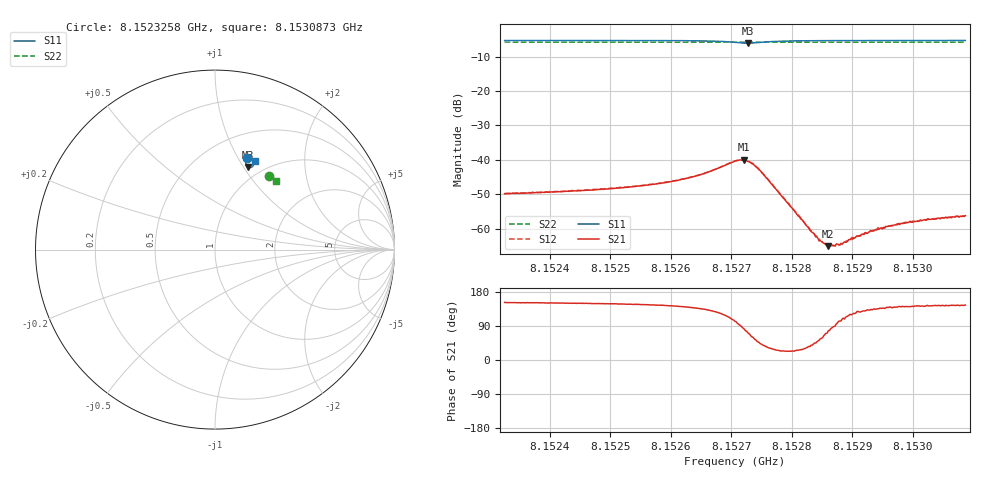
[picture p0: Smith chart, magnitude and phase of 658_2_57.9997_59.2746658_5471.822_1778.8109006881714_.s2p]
#  HZ  S  RI  R  50.00
! Rohde & Schwarz Vector Network Analyzer
! Rohde-Schwarz,ZNB20-2Port,1311601062101988,3.16
! Created: UTC 3/21/2024, 1:19:50 AM
! freq[Hz]  re:S11  im:S11  re:S21  im:S21  re:S12  im:S12  re:S22  im:S22
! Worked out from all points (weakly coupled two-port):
!   401 points, 8.1523258 GHz to 8.1530873 GHz, reference 50 ohm
!   highest |S21| = -39.98 dB at 8.1527218 GHz (marker M1); lowest = -65.1 dB at 8.1528607 GHz (marker M2)
!   lowest |S11| = -6.1 dB at 8.1527275 GHz (marker M3), VSWR 2.95, Z = 43.2 + j52.4 ohm
!   |S11| at or under -10 dB: nowhere
!   |S22| runs from -5.9 to -5.8 dB; largest |S21 - S12| = 0.00029
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8.15232579e9  0.1793 0.51  -0.00284 0.00152  -0.00286 0.00158  0.3031 0.4124
8.15245334e9  0.1894 0.5062  -0.00308 0.00182  -0.00308 0.00186  0.3096 0.4072
8.15252568e9  0.1959 0.5033  -0.00334 0.00215  -0.00335 0.00221  0.3133 0.4042
8.15258088e9  0.2016 0.5001  -0.00371 0.00262  -0.00367 0.0027  0.3159 0.4018
8.15261324e9  0.2057 0.4971  -0.00397 0.00312  -0.00397 0.00323  0.3176 0.4005
8.15264751e9  0.2107 0.4917  -0.00435 0.00419  -0.00431 0.00426  0.3193 0.399
8.15270652e9  0.2086 0.4628  -0.00205 0.00942  -0.00199 0.00942  0.3217 0.3958
8.15272175e9  0.1924 0.4566  0.00143 0.00993  0.00152 0.00983  0.3216 0.3951
8.15272746e9  0.185 0.4582  0.00288 0.00905  0.00311 0.00922  0.3217 0.3949
8.15273698e9  0.1759 0.4658  0.00447 0.00738  0.00465 0.00734  0.3219 0.395
8.1527484e9  0.172 0.4774  0.00508 0.00476  0.00509 0.00474  0.3225 0.3952
8.15283407e9  0.1944 0.5003  0.000683 0.000563  0.000665 0.000592  0.3276 0.3921
8.1528493e9  0.1971 0.5002  0.000354 0.000554  0.000371 0.000559  0.3285 0.3915
8.15285501e9  0.1979 0.5001  0.000229 0.00056  0.000246 0.000557  0.3287 0.3911
8.15286072e9  0.1988 0.5001  0.000122 0.000544  0.000169 0.000566  0.3289 0.3909
8.15287595e9  0.201 0.4999  -8.67e-05 0.000591  -6.74e-05 0.000572  0.3298 0.3902
8.15288166e9  0.2017 0.4998  -0.000135 0.000586  -0.000145 0.000598  0.3301 0.39
8.1529045e9  0.2045 0.4992  -0.000395 0.000616  -0.000417 0.000647  0.3312 0.389
8.15293115e9  0.2074 0.4985  -0.00065 0.000683  -0.000632 0.000689  0.3325 0.3879
8.15296161e9  0.2103 0.4979  -0.000825 0.000707  -0.000817 0.00074  0.334 0.3866
8.15302253e9  0.2155 0.496  -0.00106 0.000806  -0.00106 0.00081  0.3367 0.3841
8.15308725e9  0.2205 0.4943  -0.00127 0.000887  -0.00125 0.000928  0.34 0.3813
